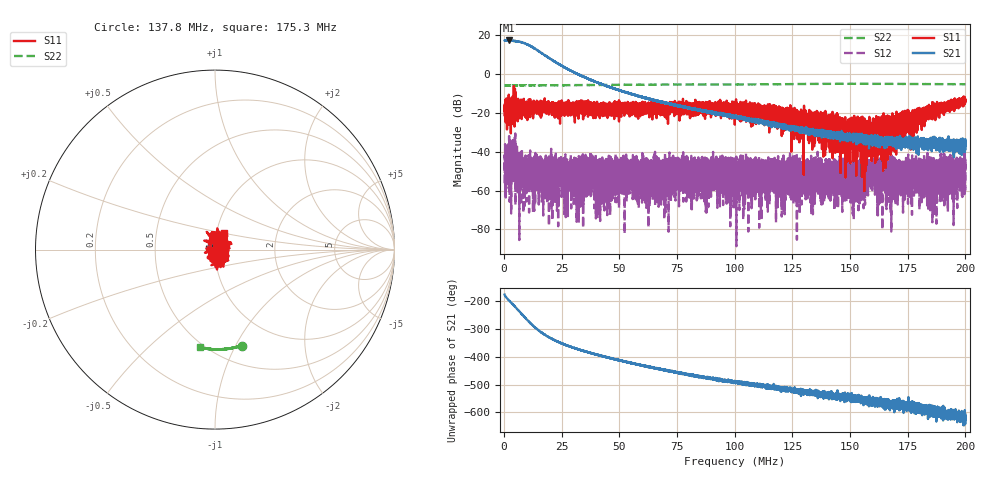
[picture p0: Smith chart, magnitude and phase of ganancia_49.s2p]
# Hz S DB R 50
! CMT, M5065, 19127446, 24.2.4/2
! Date: 11/8/2024 4:13:44 PM
! Data: Format (Calibration Info)
! Freq	S11:dB/Ang(F2)	S21:dB/Ang(F2)	S12:dB/Ang(F2)	S22:dB/Ang(F2)
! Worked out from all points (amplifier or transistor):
!   9000 points, 300 kHz to 200 MHz, reference 50 ohm
!   highest |S21| = 17.2 dB at 2.097 MHz (marker M1)
!   |S21| within 3 dB of that: start of sweep to 11.65 MHz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
!   unconditionally stable (mu >= 1): start of sweep to end of sweep
!   at 33.59 MHz: K = 78.03, MAG = 0.5 dB, |S12| = -45.9 dB
!   at 100.2 MHz: K = 1532.74, MAG = -20.9 dB, |S12| = -50.3 dB
!   at 200 MHz: K = 8816.44, MAG = -37.0 dB, |S12| = -49.6 dB
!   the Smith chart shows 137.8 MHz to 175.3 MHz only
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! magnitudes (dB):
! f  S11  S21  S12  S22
! 300 kHz  -19.0  17.2  -56.3  -5.8
! 1.321 MHz  -28.6  17.2  -53.6  -5.8
! 2.097 MHz  -10.7  17.2  -59.0  -5.8
! 4.627 MHz  -27.1  17.0  -42.2  -5.8
! 13.19 MHz  -19.0  13.2  -45.5  -5.9
! 24.53 MHz  -17.8  4.5  -55.8  -5.8
! 33.59 MHz  -16.3  -0.9  -45.9  -5.7
! 66.87 MHz  -17.1  -13.9  -50.4  -5.5
! 77.99 MHz  -19.3  -17.1  -48.8  -5.5
! 80.81 MHz  -15.3  -17.8  -55.0  -5.5
! 100.2 MHz  -18.3  -22.5  -50.3  -5.4
! 133.4 MHz  -21.6  -30.6  -44.9  -5.1
! 135.9 MHz  -24.2  -30.2  -46.0  -5.1
! 141.2 MHz  -27.9  -30.3  -49.9  -5.1
! 148.8 MHz  -31.7  -33.6  -50.4  -5.1
! 150.7 MHz  -32.5  -32.2  -49.5  -5.1
! 154.8 MHz  -22.5  -33.9  -48.6  -5.1
! 157.1 MHz  -39.6  -33.5  -53.0  -5.1
! 159.5 MHz  -36.6  -32.8  -50.7  -5.1
! 166.7 MHz  -31.2  -34.4  -57.4  -5.1
! 183.7 MHz  -17.4  -36.4  -49.0  -5.2
! 200 MHz  -14.6  -38.7  -49.6  -5.3
